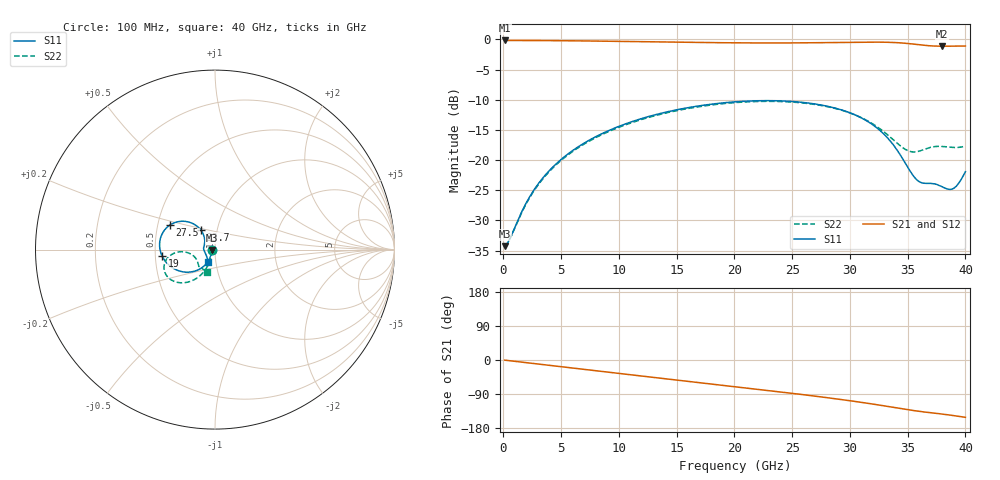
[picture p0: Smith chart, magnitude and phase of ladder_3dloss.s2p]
# Hz S RI R 50
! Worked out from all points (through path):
!   400 points, 100 MHz to 40 GHz, reference 50 ohm
!   highest |S21| = -0.17 dB at 100 MHz (marker M1); lowest = -1.1 dB at 38 GHz (marker M2)
!   group delay of S21, straight-line fit = 10.3 ps
!   lowest |S11| = -34.3 dB at 100 MHz (marker M3), VSWR 1.04, Z = 48.1 - j0.181 ohm
!   |S11| at or under -10 dB: start of sweep to end of sweep
!   |S22| runs from -34.3 to -10.3 dB; largest |S21 - S12| = 0
!   S11 on the Smith chart (normalised r, x): 100 MHz: 0.96, -0.00; 19 GHz: 0.54, -0.04; 27.5 GHz: 0.58, +0.17; 33.7 GHz: 0.83, +0.19; 40 GHz: 0.92, -0.13
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1e8  -0.0193 -0.00188  0.9807 -0.0061  0.9807 -0.0061  -0.0192 -0.00189
5e8  -0.0196 -0.00937  0.9802 -0.0305  0.9802 -0.0305  -0.0195 -0.00947
2e9  -0.0251 -0.037  0.9724 -0.1216  0.9724 -0.1216  -0.0228 -0.0376
3.1e9  -0.0332 -0.0561  0.9609 -0.1875  0.9609 -0.1875  -0.0278 -0.0578
4.7e9  -0.0506 -0.0812  0.9354 -0.2811  0.9354 -0.2811  -0.0386 -0.0856
6.8e9  -0.0822 -0.1069  0.8874 -0.398  0.8874 -0.398  -0.0588 -0.1187
9.8e9  -0.139 -0.1251  0.793 -0.5494  0.793 -0.5494  -0.0972 -0.156
1.34e10  -0.2122 -0.1142  0.6472 -0.7007  0.6472 -0.7007  -0.1526 -0.1814
1.9e10  -0.296 -0.0329  0.3719 -0.8623  0.3719 -0.8623  -0.2374 -0.1726
2.01e10  -0.3039 -0.0105  0.3129 -0.8834  0.3129 -0.8834  -0.251 -0.1641
2.35e10  -0.304 0.0628  0.1221 -0.9269  0.1221 -0.9269  -0.2798 -0.1255
2.67e10  -0.2667 0.1245  -0.07 -0.9358  -0.07 -0.9358  -0.281 -0.0776
2.75e10  -0.2515 0.1365  -0.1203 -0.9324  -0.1203 -0.9324  -0.2762 -0.0651
3.1e10  -0.1596 0.1564  -0.3525 -0.8816  -0.3525 -0.8816  -0.2238 -0.0186
3.23e10  -0.1191 0.1428  -0.4424 -0.841  -0.4424 -0.841  -0.1901 -0.0117
3.34e10  -0.0873 0.1188  -0.5166 -0.793  -0.5166 -0.793  -0.1571 -0.0155
3.37e10  -0.0798 0.1102  -0.5358 -0.7775  -0.5358 -0.7775  -0.1479 -0.0185
3.49e10  -0.0596 0.0686  -0.6031 -0.7051  -0.6031 -0.7051  -0.1143 -0.0403
3.58e10  -0.0578 0.0368  -0.6383 -0.6459  -0.6383 -0.6459  -0.0986 -0.0637
3.8e10  -0.0595 -0.00826  -0.6991 -0.5326  -0.6991 -0.5326  -0.0842 -0.0988
3.9e10  -0.0481 -0.0333  -0.7362 -0.4827  -0.7362 -0.4827  -0.0673 -0.1079
4e10  -0.0387 -0.07  -0.7739 -0.4234  -0.7739 -0.4234  -0.0438 -0.1234
